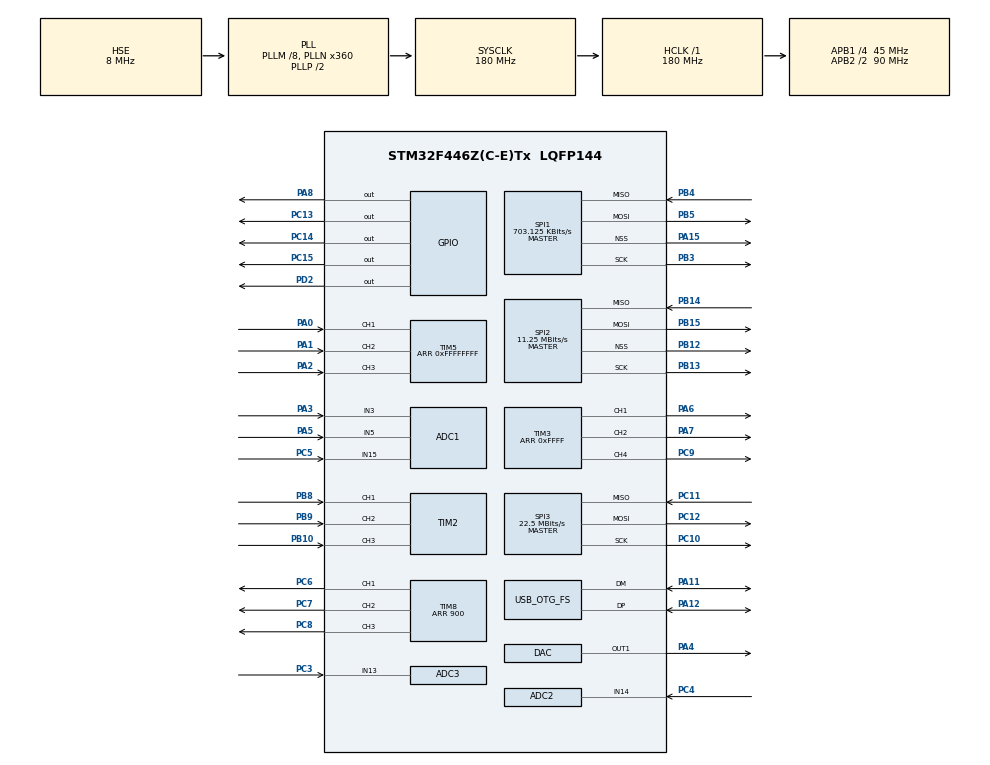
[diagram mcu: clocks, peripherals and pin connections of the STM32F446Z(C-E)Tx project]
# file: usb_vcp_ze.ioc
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ADC1.Channel-5\#ChannelRegularConversion=ADC_CHANNEL_5
ADC1.Channel-6\#ChannelInjectedConversion=ADC_CHANNEL_15
ADC1.ContinuousConvMode=ENABLE
ADC1.EOCSelection=ADC_EOC_SEQ_CONV
ADC1.ExternalTrigInjecConv=ADC_EXTERNALTRIGINJECCONV_T8_CC4
ADC1.InjNumberOfConversion=1
ADC1.InjectedConvMode=Discontinuous
ADC1.InjectedOffset-6\#ChannelInjectedConversion=0
ADC1.InjectedRank-6\#ChannelInjectedConversion=1
ADC1.NbrOfConversionFlag=1
ADC1.Rank-5\#ChannelRegularConversion=1
ADC1.SamplingTime-5\#ChannelRegularConversion=ADC_SAMPLETIME_3CYCLES
ADC1.SamplingTime-6\#ChannelInjectedConversion=ADC_SAMPLETIME_3CYCLES
ADC1.master=1
ADC2.Channel-0\#ChannelRegularConversion=ADC_CHANNEL_14
ADC2.Channel-1\#ChannelInjectedConversion=ADC_CHANNEL_14
ADC2.EOCSelection=ADC_EOC_SEQ_CONV
ADC2.ExternalTrigConv=ADC_SOFTWARE_START
ADC2.ExternalTrigInjecConv=ADC_EXTERNALTRIGINJECCONV_T8_CC4
ADC2.InjNumberOfConversion=1
ADC2.InjectedConvMode=Discontinuous
ADC2.InjectedOffset-1\#ChannelInjectedConversion=0
ADC2.NbrOfConversionFlag=1
ADC2.Rank-0\#ChannelRegularConversion=1
ADC2.SamplingTime-0\#ChannelRegularConversion=ADC_SAMPLETIME_3CYCLES
ADC2.SamplingTime-1\#ChannelInjectedConversion=ADC_SAMPLETIME_3CYCLES
ADC3.Channel-0\#ChannelRegularConversion=ADC_CHANNEL_13
ADC3.Channel-1\#ChannelInjectedConversion=ADC_CHANNEL_13
ADC3.EOCSelection=ADC_EOC_SEQ_CONV
ADC3.ExternalTrigConv=ADC_EXTERNALTRIGCONV_T1_CC1
ADC3.ExternalTrigInjecConv=ADC_EXTERNALTRIGINJECCONV_T8_CC4
ADC3.InjNumberOfConversion=1
ADC3.InjectedConvMode=Discontinuous
ADC3.InjectedOffset-1\#ChannelInjectedConversion=0
ADC3.NbrOfConversionFlag=1
ADC3.Rank-0\#ChannelRegularConversion=1
ADC3.SamplingTime-0\#ChannelRegularConversion=ADC_SAMPLETIME_3CYCLES
ADC3.SamplingTime-1\#ChannelInjectedConversion=ADC_SAMPLETIME_3CYCLES
DAC.DAC_OutputBuffer=DAC_OUTPUTBUFFER_DISABLE
Mcu.Family=STM32F4
Mcu.Name=STM32F446Z(C-E)Tx
Mcu.Package=LQFP144
NVIC.ADC_IRQn=true\:0\:0\:false\:false\:true\:true
NVIC.OTG_FS_IRQn=true\:0\:0\:false\:false\:true\:false
NVIC.PriorityGroup=NVIC_PRIORITYGROUP_4
NVIC.TIM1_UP_TIM10_IRQn=true\:0\:0\:false\:false\:true\:true
PA0-WKUP.Signal=S_TIM5_CH1
PA1.Signal=S_TIM5_CH2
PA11.Mode=Device_Only
PA11.Signal=USB_OTG_FS_DM
PA12.Mode=Device_Only
PA12.Signal=USB_OTG_FS_DP
PA15.Mode=NSS_Signal_Hard_Output
PA15.Signal=SPI1_NSS
PA2.Signal=S_TIM5_CH3
PA3.Signal=ADCx_IN3
PA4.Signal=COMP_DAC1_group
PA5.Signal=ADCx_IN5
PA6.Signal=S_TIM3_CH1
PA7.Signal=S_TIM3_CH2
PA8.Signal=GPIO_Output
PB0.Signal=TIM8_CH2N
PB1.Signal=TIM8_CH3N
PB10.Signal=S_TIM2_CH3
PB12.Mode=NSS_Signal_Hard_Output
PB12.Signal=SPI2_NSS
PB13.Mode=Full_Duplex_Master
PB13.Signal=SPI2_SCK
PB14.Mode=Full_Duplex_Master
PB14.Signal=SPI2_MISO
PB15.Mode=Full_Duplex_Master
PB15.Signal=SPI2_MOSI
PB3.Mode=Full_Duplex_Master
PB3.Signal=SPI1_SCK
PB4.Mode=Full_Duplex_Master
PB4.Signal=SPI1_MISO
PB5.Mode=Full_Duplex_Master
PB5.Signal=SPI1_MOSI
PB8.Signal=S_TIM2_CH1_ETR
PB9.Signal=S_TIM2_CH2
PC10.Mode=Full_Duplex_Master
PC10.Signal=SPI3_SCK
PC11.Mode=Full_Duplex_Master
PC11.Signal=SPI3_MISO
PC12.Mode=Full_Duplex_Master
PC12.Signal=SPI3_MOSI
PC13.Signal=GPIO_Output
PC14-OSC32_IN.Signal=GPIO_Output
PC15-OSC32_OUT.Signal=GPIO_Output
PC3.Signal=ADCx_IN13
PC4.Signal=ADCx_IN14
PC5.Signal=ADCx_IN15
PC6.Signal=S_TIM8_CH1
PC7.Signal=S_TIM8_CH2
PC8.Signal=S_TIM8_CH3
PC9.Signal=S_TIM3_CH4
PD2.PinState=GPIO_PIN_SET
PD2.Signal=GPIO_Output
PH0-OSC_IN.Mode=HSE-External-Oscillator
PH0-OSC_IN.Signal=RCC_OSC_IN
PH1-OSC_OUT.Mode=HSE-External-Oscillator
PH1-OSC_OUT.Signal=RCC_OSC_OUT
ProjectManager.HeapSize=0x4000
ProjectManager.StackSize=0x4000
ProjectManager.TargetToolchain=Makefile
RCC.AHBFreq_Value=180000000
RCC.APB1CLKDivider=RCC_HCLK_DIV4
RCC.APB1Freq_Value=45000000
RCC.APB1TimFreq_Value=90000000
RCC.APB2CLKDivider=RCC_HCLK_DIV2
RCC.APB2Freq_Value=90000000
RCC.APB2TimFreq_Value=180000000
RCC.CortexFreq_Value=180000000
RCC.HCLKFreq_Value=180000000
RCC.HSE_VALUE=8000000
RCC.PLLM=8
RCC.PLLN=360
RCC.PLLSAIM=8
RCC.PLLSAIP=RCC_PLLSAIP_DIV4
RCC.SYSCLKFreq_VALUE=180000000
RCC.SYSCLKSource=RCC_SYSCLKSOURCE_PLLCLK
RCC.USBCLockSelection=RCC_CLK48CLKSOURCE_PLLSAIP
RCC.USBFreq_Value=48000000
RCC.VCOOutputFreq_Value=360000000
SH.ADCx_IN13.0=ADC3_IN13,IN13
SH.ADCx_IN14.0=ADC2_IN14,IN14
SH.ADCx_IN15.0=ADC2_IN15
SH.ADCx_IN15.1=ADC1_IN15,IN15
SH.ADCx_IN3.0=ADC1_IN3,IN3
SH.ADCx_IN5.0=ADC1_IN5,IN5
SH.COMP_DAC1_group.0=DAC_OUT1,DAC_OUT1
SH.S_TIM2_CH1_ETR.0=TIM2_CH1,Encoder_Interface
SH.S_TIM2_CH2.0=TIM2_CH2,Encoder_Interface
SH.S_TIM2_CH3.0=TIM2_CH3,Input_Capture3_from_TI3
SH.S_TIM3_CH1.0=TIM3_CH1,PWM Generation1 CH1
SH.S_TIM3_CH2.0=TIM3_CH2,PWM Generation2 CH2
SH.S_TIM3_CH4.0=TIM3_CH4,PWM Generation4 CH4
SH.S_TIM5_CH1.0=TIM5_CH1,Encoder_Interface
SH.S_TIM5_CH2.0=TIM5_CH2,Encoder_Interface
SH.S_TIM5_CH3.0=TIM5_CH3,Input_Capture3_from_TI3
SH.S_TIM8_CH1.0=TIM8_CH1,PWM Generation1 CH1
SH.S_TIM8_CH2.0=TIM8_CH2,PWM Generation2 CH2
SH.S_TIM8_CH3.0=TIM8_CH3,PWM Generation3 CH3
SPI1.BaudRatePrescaler=SPI_BAUDRATEPRESCALER_128
SPI1.CalculateBaudRate=703.125 KBits/s
SPI1.DataSize=SPI_DATASIZE_16BIT
SPI1.Direction=SPI_DIRECTION_2LINES
SPI1.Mode=SPI_MODE_MASTER
SPI1.TIMode=SPI_TIMODE_ENABLE
SPI1.VirtualNSS=VM_NSSHARD
SPI1.VirtualType=VM_MASTER
SPI2.BaudRatePrescaler=SPI_BAUDRATEPRESCALER_4
SPI2.CLKPhase=SPI_PHASE_2EDGE
SPI2.CalculateBaudRate=11.25 MBits/s
SPI2.DataSize=SPI_DATASIZE_8BIT
SPI2.Direction=SPI_DIRECTION_2LINES
SPI2.Mode=SPI_MODE_MASTER
SPI2.TIMode=SPI_TIMODE_DISABLE
SPI2.VirtualNSS=VM_NSSHARD
SPI2.VirtualType=VM_MASTER
SPI3.BaudRatePrescaler=SPI_BAUDRATEPRESCALER_2
SPI3.CalculateBaudRate=22.5 MBits/s
SPI3.DataSize=SPI_DATASIZE_16BIT
SPI3.Direction=SPI_DIRECTION_2LINES
SPI3.Mode=SPI_MODE_MASTER
SPI3.VirtualType=VM_MASTER
TIM1.Channel-Output\ Compare1\ No\ Output=TIM_CHANNEL_1
TIM1.Period=17999
TIM1.TIM_MasterOutputTrigger=TIM_TRGO_UPDATE
TIM2.Channel-Input_Capture3_from_TI3=TIM_CHANNEL_3
TIM2.EncoderMode=TIM_ENCODERMODE_TI12
TIM2.IC1Filter=2
TIM2.IC2Filter=2
TIM2.ICFilter_CH3=4
TIM3.Channel-PWM\ Generation1\ CH1=TIM_CHANNEL_1
TIM3.Channel-PWM\ Generation2\ CH2=TIM_CHANNEL_2
TIM3.Channel-PWM\ Generation4\ CH4=TIM_CHANNEL_4
TIM3.Period=0xFFFF
TIM3.TIM_MasterOutputTrigger=TIM_TRGO_UPDATE
TIM5.Channel-Input_Capture3_from_TI3=TIM_CHANNEL_3
TIM5.EncoderMode=TIM_ENCODERMODE_TI12
TIM5.IC1Filter=2
TIM5.IC2Filter=2
TIM5.ICFilter_CH3=4
TIM5.Period=0xFFFFFFFF
TIM8.Channel-PWM\ Generation1\ CH1=TIM_CHANNEL_1
TIM8.Channel-PWM\ Generation2\ CH2=TIM_CHANNEL_2
TIM8.Channel-PWM\ Generation3\ CH3=TIM_CHANNEL_3
TIM8.Channel-PWM\ Generation4\ No\ Output=TIM_CHANNEL_4
TIM8.CounterMode=TIM_COUNTERMODE_CENTERALIGNED1
TIM8.OCFastMode_PWM-PWM\ Generation1\ CH1=TIM_OCFAST_DISABLE
TIM8.OCPolarity_1=TIM_OCPOLARITY_HIGH
TIM8.Period=900
TIM8.Pulse-PWM\ Generation1\ CH1=450
TIM8.Pulse-PWM\ Generation2\ CH2=450
TIM8.Pulse-PWM\ Generation3\ CH3=450
TIM8.Pulse-PWM\ Generation4\ No\ Output=898
USB_DEVICE.CLASS_NAME_FS=CDC
USB_DEVICE.USBD_LPM_ENABLED-CDC_FS=0
USB_DEVICE.VirtualMode-CDC_FS=Cdc
USB_DEVICE.VirtualModeFS=Cdc_FS
USB_OTG_FS.VirtualMode=Device_Only
VP_TIM1_VS_ClockSourceINT.Mode=Internal
VP_TIM1_VS_no_output1.Mode=Output Compare1 No Output
VP_TIM3_VS_ClockSourceINT.Mode=Internal
VP_TIM8_VS_ClockSourceINT.Mode=Internal
VP_TIM8_VS_no_output4.Mode=PWM Generation4 No Output
VP_USB_DEVICE_VS_USB_DEVICE_CDC_FS.Mode=CDC_FS
board=custom

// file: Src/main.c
/* USER CODE BEGIN Header */
/**
  ******************************************************************************
  * @file           : main.c
  * @brief          : Main program body
  ******************************************************************************
  * This notice applies to any and all portions of this file
  * that are not between comment pairs USER CODE BEGIN and
  * USER CODE END. Other portions of this file, whether
  * inserted by the user or by software development tools
  * are owned by their respective copyright owners.
  *
  * Copyright (c) 2019 STMicroelectronics International N.V.
  * All rights reserved.
  *
  * Redistribution and use in source and binary forms, with or without
  * modification, are permitted, provided that the following conditions are met:
  *
  * 1. Redistribution of source code must retain the above copyright notice,
  *    this list of conditions and the following disclaimer.
  * 2. Redistributions in binary form must reproduce the above copyright notice,
  *    this list of conditions and the following disclaimer in the documentation
  *    and/or other materials provided with the distribution.
  * 3. Neither the name of STMicroelectronics nor the names of other
  *    contributors to this software may be used to endorse or promote products
  *    derived from this software without specific written permission.
  * 4. This software, including modifications and/or derivative works of this
  *    software, must execute solely and exclusively on microcontroller or
  *    microprocessor devices manufactured by or for STMicroelectronics.
  * 5. Redistribution and use of this software other than as permitted under
  *    this license is void and will automatically terminate your rights under
  *    this license.
  *
  * THIS SOFTWARE IS PROVIDED BY STMICROELECTRONICS AND CONTRIBUTORS "AS IS"
  * AND ANY EXPRESS, IMPLIED OR STATUTORY WARRANTIES, INCLUDING, BUT NOT
  * LIMITED TO, THE IMPLIED WARRANTIES OF MERCHANTABILITY, FITNESS FOR A
  * PARTICULAR PURPOSE AND NON-INFRINGEMENT OF THIRD PARTY INTELLECTUAL PROPERTY
  * RIGHTS ARE DISCLAIMED TO THE FULLEST EXTENT PERMITTED BY LAW. IN NO EVENT
  * SHALL STMICROELECTRONICS OR CONTRIBUTORS BE LIABLE FOR ANY DIRECT, INDIRECT,
  * INCIDENTAL, SPECIAL, EXEMPLARY, OR CONSEQUENTIAL DAMAGES (INCLUDING, BUT NOT
  * LIMITED TO, PROCUREMENT OF SUBSTITUTE GOODS OR SERVICES; LOSS OF USE, DATA,
  * OR PROFITS; OR BUSINESS INTERRUPTION) HOWEVER CAUSED AND ON ANY THEORY OF
  * LIABILITY, WHETHER IN CONTRACT, STRICT LIABILITY, OR TORT (INCLUDING
  * NEGLIGENCE OR OTHERWISE) ARISING IN ANY WAY OUT OF THE USE OF THIS SOFTWARE,
  * EVEN IF ADVISED OF THE POSSIBILITY OF SUCH DAMAGE.
  *
  ******************************************************************************
  */
/* USER CODE END Header */

#include "main.h"
#include "usb_device.h"

/* USER CODE BEGIN Includes */
#include "../control/foc_i.h"
#include "usbd_cdc_if.h"
#include "param.h"
#include "util.h"
#include "pin_config.h"
__attribute__((used)) DWT_Type *dwt = DWT;

/* USER CODE END Includes */

ADC_HandleTypeDef hadc1;
ADC_HandleTypeDef hadc2;
ADC_HandleTypeDef hadc3;

DAC_HandleTypeDef hdac;

SPI_HandleTypeDef hspi1;
SPI_HandleTypeDef hspi2;

TIM_HandleTypeDef htim1;
TIM_HandleTypeDef htim2;
TIM_HandleTypeDef htim3;
TIM_HandleTypeDef htim5;
TIM_HandleTypeDef htim8;

/* USER CODE BEGIN PV */
/* Private variables ---------------------------------------------------------*/

/* USER CODE END PV */

void SystemClock_Config(void);
static void MX_GPIO_Init(void);
static void MX_ADC2_Init(void);
static void MX_ADC3_Init(void);
static void MX_TIM8_Init(void);
static void MX_TIM1_Init(void);
static void MX_TIM2_Init(void);
static void MX_TIM5_Init(void);
static void MX_DAC_Init(void);
static void MX_SPI2_Init(void);
static void MX_SPI1_Init(void);
static void MX_TIM3_Init(void);
static void MX_ADC1_Init(void);
/* USER CODE BEGIN PFP */
/* Private function prototypes -----------------------------------------------*/

uint16_t drv_regs_error = 0;
FastLoopStatus fast_loop_status;
MainLoopStatus main_loop_status;

uint16_t drv_regs[] = {
  (2<<11) | 0x20,  // control_reg 0x20, 3 PWM mode
  (3<<11) | 0x355, // hs_reg      0x3CC, moderate drive current
  (4<<11) | 0x055, // ls_reg      0x0CC, no cycle by cycle, 500 ns tdrive
                                // moderate drive current (.57,1.14A)
  (5<<11) | 0x20,  // ocp_reg     0x20 -> 50 ns dead time,
                              //latched ocp, 4 us ocp deglitch, 0.06 Vds thresh
  (6<<11) | 0x2C0, // csa_reg     0x280 -> bidirectional current, 40V/V
                                // anlog gain, 0.25V sense ocp resistor
};
/* USER CODE END PFP */

float i_a_filtered = 0;
float i_b_filtered = 0;
float i_c_filtered = 0;
float alpha = .01;
int main(void)
{

  /* MCU Configuration--------------------------------------------------------*/

  /* Reset of all peripherals, Initializes the Flash interface and the Systick. */
  HAL_Init();

  /* Configure the system clock */
  SystemClock_Config();

  /* Initialize all configured peripherals */
  MX_GPIO_Init();
  MX_USB_DEVICE_Init();
  MX_ADC2_Init();
  MX_ADC3_Init();
  MX_TIM8_Init();
  MX_TIM1_Init();
  MX_TIM2_Init();
  MX_TIM5_Init();
  MX_DAC_Init();
  MX_SPI2_Init();
  MX_SPI1_Init();
  MX_TIM3_Init();
  MX_ADC1_Init();
  /* USER CODE BEGIN 2 */

  // spi2 cs
  GPIOB->MODER |= GPIO_MODER_MODE12_0;
  GPIOB->MODER &= ~GPIO_MODER_MODE12_1;

  // tmp power source with power cycle
  GPIOF->MODER |= GPIO_MODER_MODE12_0;
  GPIOF->MODER &= ~GPIO_MODER_MODE12_1;
  GPIOF->ODR &= ~GPIO_ODR_OD12;
  HAL_Delay(100);
  GPIOF->ODR |= GPIO_ODR_OD12;

    init_param_from_flash();
  fast_loop_set_param(&param()->fast_loop_param);
  TIM8->ARR = 180e6/2/param()->fast_loop_param.pwm_frequency;
  main_loop_set_param(&param()->main_loop_param);
  TIM1->ARR = 180e6/param()->main_loop_param.update_frequency - 1;

	HAL_TIM_Base_Start(&htim8);
	HAL_TIM_Base_Start(&htim1);
	HAL_TIM_Base_Start(&htim2);
  HAL_TIM_Base_Start(&htim5);
    HAL_TIM_Base_Start(&htim3);
	HAL_ADC_Start(&hadc1);
		HAL_ADC_Start(&hadc2);
			HAL_ADC_Start(&hadc3);
			HAL_TIM_OC_Start(&htim8, TIM_CHANNEL_1);
			HAL_TIM_OC_Start(&htim8, TIM_CHANNEL_2);
			HAL_TIM_OC_Start(&htim8, TIM_CHANNEL_3);
			HAL_TIM_OC_Start(&htim8, TIM_CHANNEL_4);
			HAL_TIM_OC_Start(&htim2, TIM_CHANNEL_3);
      HAL_TIM_PWM_Start(&htim3, TIM_CHANNEL_1);
      HAL_TIM_PWM_Start(&htim3, TIM_CHANNEL_2);
      HAL_TIM_PWM_Start(&htim3, TIM_CHANNEL_4);
			htim8.Instance->CCR2 = 0x1c2;
      htim8.Instance->CCER |= TIM_CCER_CC1NE | TIM_CCER_CC2NE | TIM_CCER_CC3NE;
			hadc1.Instance->CR1 |= ADC_CR1_JEOCIE;
			htim1.Instance->DIER |= TIM_DIER_UIE;
			HAL_NVIC_SetPriority(OTG_FS_IRQn, 3, 0);
      HAL_NVIC_SetPriority(TIM1_UP_TIM10_IRQn, 2, 0);
			htim2.Instance->ARR = 0xFFFFFFFF;

			htim5.Instance->ARR = 0xFFFFFFFF;
      hdac.Instance->CR |= DAC_CR_EN1;
      DBGMCU->APB2FZ |= DBGMCU_APB2_FZ_DBG_TIM8_STOP;
      DBGMCU->APB1FZ |= DBGMCU_APB1_FZ_DBG_TIM5_STOP;

      CoreDebug->DEMCR |= CoreDebug_DEMCR_TRCENA_Msk;
      //ITM->LSR = 0xC5ACCE55;

      TPI->SPPR = 0x00000002; // Select NRZ mode
      TPI->ACPR = 40 - 1; // 4.5 MHz from 180 MHz clock
      ITM->TPR = 0x00000000;
      DWT->CTRL = 0x400003FF | (1ul<<17) | DWT_CTRL_LSUEVTENA_Msk | DWT_CTRL_FOLDEVTENA_Msk;
      TPI->FFCR = 0x00000100;
      //
      // Enable ITM and stimulus port
      //

     // ITM->TCR |= ITM_TCR_ITMENA_Msk; //& ITM_TCR_ITMENA_Msk) != 0UL) &&      /* ITM enabled */
      ITM->TCR = 0x1000D; // Enable ITM
      ITM->TER |= 1UL;

     // ITM->ENA = ITM_TCR_ITMENA_Msk // Enable ITM stimulus port

  /* USER CODE END 2 */

  /* Infinite loop */
  /* USER CODE BEGIN WHILE */
	char s[512];

    // drv enable
  *drv_en_reg = drv_en_pin;
  HAL_Delay(10);
  // drv regs setting
  for (int i=0; i<sizeof(drv_regs)/sizeof(uint16_t); i++) {
    uint16_t reg_out = drv_regs[i];
    uint16_t reg_in = 0;
    HAL_SPI_TransmitReceive(&hspi1, (uint8_t *) &reg_out, (uint8_t *) &reg_in, 1, 10);
    reg_out |= (1<<15); // switch to read mode
    HAL_SPI_TransmitReceive(&hspi1, (uint8_t *) &reg_out, (uint8_t *) &reg_in, 1, 10);
    if ((reg_in & 0x7FF) != (reg_out & 0x7FF)) {
      drv_regs_error |= 1 << i;
    }
  }

  // startup
  fast_loop_voltage_mode();
  for (int i=0; i<1000; i++) {
    HAL_Delay(1);
    fast_loop_zero_current_sensors();
  }
  fast_loop_phase_lock_mode(1);
  HAL_Delay(2000);
  fast_loop_maintenance();  // TODO better way than calling this to update zero pos
  fast_loop_current_mode();
  fast_loop_set_iq_des(0);

  while (1)
  {

		HAL_Delay(1);
    fast_loop_set_param(&param()->fast_loop_param);   // to help with debugging
    main_loop_set_param(&param()->main_loop_param);
    fast_loop_maintenance();
		HAL_GPIO_WritePin(GPIOC, GPIO_PIN_13, GPIO_PIN_SET);
    fast_loop_get_status(&fast_loop_status);
    main_loop_get_status(&main_loop_status);
		sprintf(s, "%f, %f, %f\r\n", fast_loop_status.motor_mechanical_position, fast_loop_status.foc_status.measured.i_q, main_loop_status.torque);
		CDC_Transmit_FS((uint8_t *) s, strlen(s));
			HAL_GPIO_WritePin(GPIOC, GPIO_PIN_13, GPIO_PIN_RESET);

    i_a_filtered = (1-alpha)*i_a_filtered + alpha*fast_loop_status.foc_command.measured.i_a;
    i_b_filtered = (1-alpha)*i_b_filtered + alpha*fast_loop_status.foc_command.measured.i_b;
    i_c_filtered = (1-alpha)*i_c_filtered + alpha*fast_loop_status.foc_command.measured.i_c;
    /* USER CODE END WHILE */

  }
}

void SystemClock_Config(void)
{
  RCC_OscInitTypeDef RCC_OscInitStruct = {0};
  RCC_ClkInitTypeDef RCC_ClkInitStruct = {0};
  RCC_PeriphCLKInitTypeDef PeriphClkInitStruct = {0};

  /**Configure the main internal regulator output voltage
  */
  __HAL_RCC_PWR_CLK_ENABLE();
  __HAL_PWR_VOLTAGESCALING_CONFIG(PWR_REGULATOR_VOLTAGE_SCALE1);
  /**Initializes the CPU, AHB and APB busses clocks
  */
  RCC_OscInitStruct.OscillatorType = RCC_OSCILLATORTYPE_HSE;
  RCC_OscInitStruct.HSEState = RCC_HSE_ON;
  RCC_OscInitStruct.PLL.PLLState = RCC_PLL_ON;
  RCC_OscInitStruct.PLL.PLLSource = RCC_PLLSOURCE_HSE;
  RCC_OscInitStruct.PLL.PLLM = 8;
  RCC_OscInitStruct.PLL.PLLN = 360;
  RCC_OscInitStruct.PLL.PLLP = RCC_PLLP_DIV2;
  RCC_OscInitStruct.PLL.PLLQ = 2;
  RCC_OscInitStruct.PLL.PLLR = 2;
  if (HAL_RCC_OscConfig(&RCC_OscInitStruct) != HAL_OK)
  {
    Error_Handler();
  }
  /**Activate the Over-Drive mode
  */
  if (HAL_PWREx_EnableOverDrive() != HAL_OK)
  {
    Error_Handler();
  }
  /**Initializes the CPU, AHB and APB busses clocks
  */
  RCC_ClkInitStruct.ClockType = RCC_CLOCKTYPE_HCLK|RCC_CLOCKTYPE_SYSCLK
                              |RCC_CLOCKTYPE_PCLK1|RCC_CLOCKTYPE_PCLK2;
  RCC_ClkInitStruct.SYSCLKSource = RCC_SYSCLKSOURCE_PLLCLK;
  RCC_ClkInitStruct.AHBCLKDivider = RCC_SYSCLK_DIV1;
  RCC_ClkInitStruct.APB1CLKDivider = RCC_HCLK_DIV4;
  RCC_ClkInitStruct.APB2CLKDivider = RCC_HCLK_DIV2;

  if (HAL_RCC_ClockConfig(&RCC_ClkInitStruct, FLASH_LATENCY_5) != HAL_OK)
  {
    Error_Handler();
  }
  PeriphClkInitStruct.PeriphClockSelection = RCC_PERIPHCLK_CLK48;
  PeriphClkInitStruct.PLLSAI.PLLSAIM = 8;
  PeriphClkInitStruct.PLLSAI.PLLSAIN = 192;
  PeriphClkInitStruct.PLLSAI.PLLSAIQ = 2;
  PeriphClkInitStruct.PLLSAI.PLLSAIP = RCC_PLLSAIP_DIV4;
  PeriphClkInitStruct.PLLSAIDivQ = 1;
  PeriphClkInitStruct.Clk48ClockSelection = RCC_CLK48CLKSOURCE_PLLSAIP;
  if (HAL_RCCEx_PeriphCLKConfig(&PeriphClkInitStruct) != HAL_OK)
  {
    Error_Handler();
  }
}

static void MX_ADC1_Init(void)
{

  ADC_ChannelConfTypeDef sConfig = {0};
  ADC_InjectionConfTypeDef sConfigInjected = {0};

  /**Configure the global features of the ADC (Clock, Resolution, Data Alignment and number of conversion)
  */
  hadc1.Instance = ADC1;
  hadc1.Init.ClockPrescaler = ADC_CLOCK_SYNC_PCLK_DIV4;
  hadc1.Init.Resolution = ADC_RESOLUTION_12B;
  hadc1.Init.ScanConvMode = DISABLE;
  hadc1.Init.ContinuousConvMode = ENABLE;
  hadc1.Init.DiscontinuousConvMode = DISABLE;
  hadc1.Init.ExternalTrigConvEdge = ADC_EXTERNALTRIGCONVEDGE_NONE;
  hadc1.Init.ExternalTrigConv = ADC_SOFTWARE_START;
  hadc1.Init.DataAlign = ADC_DATAALIGN_RIGHT;
  hadc1.Init.NbrOfConversion = 1;
  hadc1.Init.DMAContinuousRequests = DISABLE;
  hadc1.Init.EOCSelection = ADC_EOC_SEQ_CONV;
  if (HAL_ADC_Init(&hadc1) != HAL_OK)
  {
    Error_Handler();
  }
  /**Configure for the selected ADC regular channel its corresponding rank in the sequencer and its sample time.
  */
  sConfig.Channel = ADC_CHANNEL_5;
  sConfig.Rank = 1;
  sConfig.SamplingTime = ADC_SAMPLETIME_3CYCLES;
  if (HAL_ADC_ConfigChannel(&hadc1, &sConfig) != HAL_OK)
  {
    Error_Handler();
  }
  /**Configures for the selected ADC injected channel its corresponding rank in the sequencer and its sample time
  */
  sConfigInjected.InjectedChannel = ADC_CHANNEL_15;
  sConfigInjected.InjectedRank = 1;
  sConfigInjected.InjectedNbrOfConversion = 1;
  sConfigInjected.InjectedSamplingTime = ADC_SAMPLETIME_3CYCLES;
  sConfigInjected.ExternalTrigInjecConvEdge = ADC_EXTERNALTRIGINJECCONVEDGE_RISING;
  sConfigInjected.ExternalTrigInjecConv = ADC_EXTERNALTRIGINJECCONV_T8_CC4;
  sConfigInjected.AutoInjectedConv = DISABLE;
  sConfigInjected.InjectedDiscontinuousConvMode = ENABLE;
  sConfigInjected.InjectedOffset = 0;
  if (HAL_ADCEx_InjectedConfigChannel(&hadc1, &sConfigInjected) != HAL_OK)
  {
    Error_Handler();
  }

}

static void MX_ADC2_Init(void)
{

  ADC_ChannelConfTypeDef sConfig = {0};
  ADC_InjectionConfTypeDef sConfigInjected = {0};

  /**Configure the global features of the ADC (Clock, Resolution, Data Alignment and number of conversion)
  */
  hadc2.Instance = ADC2;
  hadc2.Init.ClockPrescaler = ADC_CLOCK_SYNC_PCLK_DIV4;
  hadc2.Init.Resolution = ADC_RESOLUTION_12B;
  hadc2.Init.ScanConvMode = DISABLE;
  hadc2.Init.ContinuousConvMode = DISABLE;
  hadc2.Init.DiscontinuousConvMode = DISABLE;
  hadc2.Init.ExternalTrigConvEdge = ADC_EXTERNALTRIGCONVEDGE_RISING;
  hadc2.Init.ExternalTrigConv = ADC_EXTERNALTRIGCONV_Ext_IT11;
  hadc2.Init.DataAlign = ADC_DATAALIGN_RIGHT;
  hadc2.Init.NbrOfConversion = 1;
  hadc2.Init.DMAContinuousRequests = DISABLE;
  hadc2.Init.EOCSelection = ADC_EOC_SEQ_CONV;
  if (HAL_ADC_Init(&hadc2) != HAL_OK)
  {
    Error_Handler();
  }
  /**Configure for the selected ADC regular channel its corresponding rank in the sequencer and its sample time.
  */
  sConfig.Channel = ADC_CHANNEL_14;
  sConfig.Rank = 1;
  sConfig.SamplingTime = ADC_SAMPLETIME_3CYCLES;
  if (HAL_ADC_ConfigChannel(&hadc2, &sConfig) != HAL_OK)
  {
    Error_Handler();
  }
  /**Configures for the selected ADC injected channel its corresponding rank in the sequencer and its sample time
  */
  sConfigInjected.InjectedChannel = ADC_CHANNEL_14;
  sConfigInjected.InjectedRank = 1;
  sConfigInjected.InjectedNbrOfConversion = 1;
  sConfigInjected.InjectedSamplingTime = ADC_SAMPLETIME_3CYCLES;
  sConfigInjected.ExternalTrigInjecConvEdge = ADC_EXTERNALTRIGINJECCONVEDGE_RISING;
  sConfigInjected.ExternalTrigInjecConv = ADC_EXTERNALTRIGINJECCONV_T8_CC4;
  sConfigInjected.AutoInjectedConv = DISABLE;
  sConfigInjected.InjectedDiscontinuousConvMode = ENABLE;
  sConfigInjected.InjectedOffset = 0;
  if (HAL_ADCEx_InjectedConfigChannel(&hadc2, &sConfigInjected) != HAL_OK)
  {
    Error_Handler();
  }

}

static void MX_ADC3_Init(void)
{

  ADC_ChannelConfTypeDef sConfig = {0};
  ADC_InjectionConfTypeDef sConfigInjected = {0};

  /**Configure the global features of the ADC (Clock, Resolution, Data Alignment and number of conversion)
  */
  hadc3.Instance = ADC3;
  hadc3.Init.ClockPrescaler = ADC_CLOCK_SYNC_PCLK_DIV4;
  hadc3.Init.Resolution = ADC_RESOLUTION_12B;
  hadc3.Init.ScanConvMode = DISABLE;
  hadc3.Init.ContinuousConvMode = DISABLE;
  hadc3.Init.DiscontinuousConvMode = DISABLE;
  hadc3.Init.ExternalTrigConvEdge = ADC_EXTERNALTRIGCONVEDGE_RISING;
  hadc3.Init.ExternalTrigConv = ADC_EXTERNALTRIGCONV_T1_CC1;
  hadc3.Init.DataAlign = ADC_DATAALIGN_RIGHT;
  hadc3.Init.NbrOfConversion = 1;
  hadc3.Init.DMAContinuousRequests = DISABLE;
  hadc3.Init.EOCSelection = ADC_EOC_SEQ_CONV;
  if (HAL_ADC_Init(&hadc3) != HAL_OK)
  {
    Error_Handler();
  }
  /**Configure for the selected ADC regular channel its corresponding rank in the sequencer and its sample time.
  */
  sConfig.Channel = ADC_CHANNEL_13;
  sConfig.Rank = 1;
  sConfig.SamplingTime = ADC_SAMPLETIME_3CYCLES;
  if (HAL_ADC_ConfigChannel(&hadc3, &sConfig) != HAL_OK)
  {
    Error_Handler();
  }
  /**Configures for the selected ADC injected channel its corresponding rank in the sequencer and its sample time
  */
  sConfigInjected.InjectedChannel = ADC_CHANNEL_13;
  sConfigInjected.InjectedRank = 1;
  sConfigInjected.InjectedNbrOfConversion = 1;
  sConfigInjected.InjectedSamplingTime = ADC_SAMPLETIME_3CYCLES;
  sConfigInjected.ExternalTrigInjecConvEdge = ADC_EXTERNALTRIGINJECCONVEDGE_RISING;
  sConfigInjected.ExternalTrigInjecConv = ADC_EXTERNALTRIGINJECCONV_T8_CC4;
  sConfigInjected.AutoInjectedConv = DISABLE;
  sConfigInjected.InjectedDiscontinuousConvMode = ENABLE;
  sConfigInjected.InjectedOffset = 0;
  if (HAL_ADCEx_InjectedConfigChannel(&hadc3, &sConfigInjected) != HAL_OK)
  {
    Error_Handler();
  }

}

static void MX_DAC_Init(void)
{

  DAC_ChannelConfTypeDef sConfig = {0};

  /**DAC Initialization
  */
  hdac.Instance = DAC;
  if (HAL_DAC_Init(&hdac) != HAL_OK)
  {
    Error_Handler();
  }
  /**DAC channel OUT1 config
  */
  sConfig.DAC_Trigger = DAC_TRIGGER_NONE;
  sConfig.DAC_OutputBuffer = DAC_OUTPUTBUFFER_DISABLE;
  if (HAL_DAC_ConfigChannel(&hdac, &sConfig, DAC_CHANNEL_1) != HAL_OK)
  {
    Error_Handler();
  }

}

static void MX_SPI1_Init(void)
{

  /* SPI1 parameter configuration*/
  hspi1.Instance = SPI1;
  hspi1.Init.Mode = SPI_MODE_MASTER;
  hspi1.Init.Direction = SPI_DIRECTION_2LINES;
  hspi1.Init.DataSize = SPI_DATASIZE_16BIT;
  hspi1.Init.NSS = SPI_NSS_HARD_OUTPUT;
  hspi1.Init.BaudRatePrescaler = SPI_BAUDRATEPRESCALER_128;
  hspi1.Init.TIMode = SPI_TIMODE_ENABLE;
  hspi1.Init.CRCCalculation = SPI_CRCCALCULATION_DISABLE;
  hspi1.Init.CRCPolynomial = 10;
  if (HAL_SPI_Init(&hspi1) != HAL_OK)
  {
    Error_Handler();
  }

}

static void MX_SPI2_Init(void)
{

  /* SPI2 parameter configuration*/
  hspi2.Instance = SPI2;
  hspi2.Init.Mode = SPI_MODE_MASTER;
  hspi2.Init.Direction = SPI_DIRECTION_2LINES;
  hspi2.Init.DataSize = SPI_DATASIZE_8BIT;
  hspi2.Init.CLKPolarity = SPI_POLARITY_LOW;
  hspi2.Init.CLKPhase = SPI_PHASE_2EDGE;
  hspi2.Init.NSS = SPI_NSS_HARD_OUTPUT;
  hspi2.Init.BaudRatePrescaler = SPI_BAUDRATEPRESCALER_4;
  hspi2.Init.FirstBit = SPI_FIRSTBIT_MSB;
  hspi2.Init.TIMode = SPI_TIMODE_DISABLE;
  hspi2.Init.CRCCalculation = SPI_CRCCALCULATION_DISABLE;
  hspi2.Init.CRCPolynomial = 10;
  if (HAL_SPI_Init(&hspi2) != HAL_OK)
  {
    Error_Handler();
  }

}

static void MX_TIM1_Init(void)
{

  TIM_ClockConfigTypeDef sClockSourceConfig = {0};
  TIM_MasterConfigTypeDef sMasterConfig = {0};
  TIM_OC_InitTypeDef sConfigOC = {0};
  TIM_BreakDeadTimeConfigTypeDef sBreakDeadTimeConfig = {0};

  htim1.Instance = TIM1;
  htim1.Init.Prescaler = 0;
  htim1.Init.CounterMode = TIM_COUNTERMODE_UP;
  htim1.Init.Period = 17999;
  htim1.Init.ClockDivision = TIM_CLOCKDIVISION_DIV1;
  htim1.Init.RepetitionCounter = 0;
  if (HAL_TIM_Base_Init(&htim1) != HAL_OK)
  {
    Error_Handler();
  }
  sClockSourceConfig.ClockSource = TIM_CLOCKSOURCE_INTERNAL;
  if (HAL_TIM_ConfigClockSource(&htim1, &sClockSourceConfig) != HAL_OK)
  {
    Error_Handler();
  }
  if (HAL_TIM_OC_Init(&htim1) != HAL_OK)
  {
    Error_Handler();
  }
  sMasterConfig.MasterOutputTrigger = TIM_TRGO_UPDATE;
  sMasterConfig.MasterSlaveMode = TIM_MASTERSLAVEMODE_DISABLE;
  if (HAL_TIMEx_MasterConfigSynchronization(&htim1, &sMasterConfig) != HAL_OK)
  {
    Error_Handler();
  }
  sConfigOC.OCMode = TIM_OCMODE_TIMING;
  sConfigOC.Pulse = 0;
  sConfigOC.OCPolarity = TIM_OCPOLARITY_HIGH;
  sConfigOC.OCNPolarity = TIM_OCNPOLARITY_HIGH;
  sConfigOC.OCFastMode = TIM_OCFAST_DISABLE;
  sConfigOC.OCIdleState = TIM_OCIDLESTATE_RESET;
  sConfigOC.OCNIdleState = TIM_OCNIDLESTATE_RESET;
  if (HAL_TIM_OC_ConfigChannel(&htim1, &sConfigOC, TIM_CHANNEL_1) != HAL_OK)
  {
    Error_Handler();
  }
  sBreakDeadTimeConfig.OffStateRunMode = TIM_OSSR_DISABLE;
  sBreakDeadTimeConfig.OffStateIDLEMode = TIM_OSSI_DISABLE;
  sBreakDeadTimeConfig.LockLevel = TIM_LOCKLEVEL_OFF;
  sBreakDeadTimeConfig.DeadTime = 0;
  sBreakDeadTimeConfig.BreakState = TIM_BREAK_DISABLE;
  sBreakDeadTimeConfig.BreakPolarity = TIM_BREAKPOLARITY_HIGH;
  sBreakDeadTimeConfig.AutomaticOutput = TIM_AUTOMATICOUTPUT_DISABLE;
  if (HAL_TIMEx_ConfigBreakDeadTime(&htim1, &sBreakDeadTimeConfig) != HAL_OK)
  {
    Error_Handler();
  }

}

static void MX_TIM2_Init(void)
{

  TIM_Encoder_InitTypeDef sConfig = {0};
  TIM_MasterConfigTypeDef sMasterConfig = {0};
  TIM_IC_InitTypeDef sConfigIC = {0};

  htim2.Instance = TIM2;
  htim2.Init.Prescaler = 0;
  htim2.Init.CounterMode = TIM_COUNTERMODE_UP;
  htim2.Init.Period = 0;
  htim2.Init.ClockDivision = TIM_CLOCKDIVISION_DIV1;
  if (HAL_TIM_IC_Init(&htim2) != HAL_OK)
  {
    Error_Handler();
  }
  sConfig.EncoderMode = TIM_ENCODERMODE_TI12;
  sConfig.IC1Polarity = TIM_ICPOLARITY_RISING;
  sConfig.IC1Selection = TIM_ICSELECTION_DIRECTTI;
  sConfig.IC1Prescaler = TIM_ICPSC_DIV1;
  sConfig.IC1Filter = 2;
  sConfig.IC2Polarity = TIM_ICPOLARITY_RISING;
  sConfig.IC2Selection = TIM_ICSELECTION_DIRECTTI;
  sConfig.IC2Prescaler = TIM_ICPSC_DIV1;
  sConfig.IC2Filter = 4;
  if (HAL_TIM_Encoder_Init(&htim2, &sConfig) != HAL_OK)
  {
    Error_Handler();
  }
  sMasterConfig.MasterOutputTrigger = TIM_TRGO_RESET;
  sMasterConfig.MasterSlaveMode = TIM_MASTERSLAVEMODE_DISABLE;
  if (HAL_TIMEx_MasterConfigSynchronization(&htim2, &sMasterConfig) != HAL_OK)
  {
    Error_Handler();
  }
  sConfigIC.ICPolarity = TIM_INPUTCHANNELPOLARITY_RISING;
  sConfigIC.ICSelection = TIM_ICSELECTION_DIRECTTI;
  sConfigIC.ICPrescaler = TIM_ICPSC_DIV1;
  sConfigIC.ICFilter = 2;
  if (HAL_TIM_IC_ConfigChannel(&htim2, &sConfigIC, TIM_CHANNEL_3) != HAL_OK)
  {
    Error_Handler();
  }

}

static void MX_TIM3_Init(void)
{

  TIM_ClockConfigTypeDef sClockSourceConfig = {0};
  TIM_MasterConfigTypeDef sMasterConfig = {0};
  TIM_OC_InitTypeDef sConfigOC = {0};

  htim3.Instance = TIM3;
  htim3.Init.Prescaler = 0;
  htim3.Init.CounterMode = TIM_COUNTERMODE_UP;
  htim3.Init.Period = 0xFFFF;
  htim3.Init.ClockDivision = TIM_CLOCKDIVISION_DIV1;
  if (HAL_TIM_Base_Init(&htim3) != HAL_OK)
  {
    Error_Handler();
  }
  sClockSourceConfig.ClockSource = TIM_CLOCKSOURCE_INTERNAL;
  if (HAL_TIM_ConfigClockSource(&htim3, &sClockSourceConfig) != HAL_OK)
  {
    Error_Handler();
  }
  if (HAL_TIM_PWM_Init(&htim3) != HAL_OK)
  {
    Error_Handler();
  }
  sMasterConfig.MasterOutputTrigger = TIM_TRGO_UPDATE;
  sMasterConfig.MasterSlaveMode = TIM_MASTERSLAVEMODE_DISABLE;
  if (HAL_TIMEx_MasterConfigSynchronization(&htim3, &sMasterConfig) != HAL_OK)
  {
    Error_Handler();
  }
  sConfigOC.OCMode = TIM_OCMODE_PWM1;
  sConfigOC.Pulse = 0;
  sConfigOC.OCPolarity = TIM_OCPOLARITY_HIGH;
  sConfigOC.OCFastMode = TIM_OCFAST_DISABLE;
  if (HAL_TIM_PWM_ConfigChannel(&htim3, &sConfigOC, TIM_CHANNEL_1) != HAL_OK)
  {
    Error_Handler();
  }
  if (HAL_TIM_PWM_ConfigChannel(&htim3, &sConfigOC, TIM_CHANNEL_2) != HAL_OK)
  {
    Error_Handler();
  }
  if (HAL_TIM_PWM_ConfigChannel(&htim3, &sConfigOC, TIM_CHANNEL_4) != HAL_OK)
  {
    Error_Handler();
  }
  HAL_TIM_MspPostInit(&htim3);

}

static void MX_TIM5_Init(void)
{

  TIM_ClockConfigTypeDef sClockSourceConfig = {0};
  TIM_MasterConfigTypeDef sMasterConfig = {0};

  htim5.Instance = TIM5;
  htim5.Init.Prescaler = 0;
  htim5.Init.CounterMode = TIM_COUNTERMODE_UP;
  htim5.Init.Period = 0xFFFFFFFF;
  htim5.Init.ClockDivision = TIM_CLOCKDIVISION_DIV1;
  if (HAL_TIM_Base_Init(&htim5) != HAL_OK)
  {
    Error_Handler();
  }
  sClockSourceConfig.ClockSource = TIM_CLOCKSOURCE_INTERNAL;
  if (HAL_TIM_ConfigClockSource(&htim5, &sClockSourceConfig) != HAL_OK)
  {
    Error_Handler();
  }
  sMasterConfig.MasterOutputTrigger = TIM_TRGO_RESET;
  sMasterConfig.MasterSlaveMode = TIM_MASTERSLAVEMODE_DISABLE;
  if (HAL_TIMEx_MasterConfigSynchronization(&htim5, &sMasterConfig) != HAL_OK)
  {
    Error_Handler();
  }

}

static void MX_TIM8_Init(void)
{

  TIM_ClockConfigTypeDef sClockSourceConfig = {0};
  TIM_MasterConfigTypeDef sMasterConfig = {0};
  TIM_OC_InitTypeDef sConfigOC = {0};
  TIM_BreakDeadTimeConfigTypeDef sBreakDeadTimeConfig = {0};

  htim8.Instance = TIM8;
  htim8.Init.Prescaler = 0;
  htim8.Init.CounterMode = TIM_COUNTERMODE_CENTERALIGNED1;
  htim8.Init.Period = 900;
  htim8.Init.ClockDivision = TIM_CLOCKDIVISION_DIV1;
  htim8.Init.RepetitionCounter = 0;
  if (HAL_TIM_Base_Init(&htim8) != HAL_OK)
  {
    Error_Handler();
  }
  sClockSourceConfig.ClockSource = TIM_CLOCKSOURCE_INTERNAL;
  if (HAL_TIM_ConfigClockSource(&htim8, &sClockSourceConfig) != HAL_OK)
  {
    Error_Handler();
  }
  if (HAL_TIM_PWM_Init(&htim8) != HAL_OK)
  {
    Error_Handler();
  }
  sMasterConfig.MasterOutputTrigger = TIM_TRGO_RESET;
  sMasterConfig.MasterSlaveMode = TIM_MASTERSLAVEMODE_DISABLE;
  if (HAL_TIMEx_MasterConfigSynchronization(&htim8, &sMasterConfig) != HAL_OK)
  {
    Error_Handler();
  }
  sConfigOC.OCMode = TIM_OCMODE_PWM1;
  sConfigOC.Pulse = 450;
  sConfigOC.OCPolarity = TIM_OCPOLARITY_HIGH;
  sConfigOC.OCNPolarity = TIM_OCNPOLARITY_HIGH;
  sConfigOC.OCFastMode = TIM_OCFAST_DISABLE;
  sConfigOC.OCIdleState = TIM_OCIDLESTATE_RESET;
  sConfigOC.OCNIdleState = TIM_OCNIDLESTATE_RESET;
  if (HAL_TIM_PWM_ConfigChannel(&htim8, &sConfigOC, TIM_CHANNEL_1) != HAL_OK)
  {
    Error_Handler();
  }
  if (HAL_TIM_PWM_ConfigChannel(&htim8, &sConfigOC, TIM_CHANNEL_2) != HAL_OK)
  {
    Error_Handler();
  }
  if (HAL_TIM_PWM_ConfigChannel(&htim8, &sConfigOC, TIM_CHANNEL_3) != HAL_OK)
  {
    Error_Handler();
  }
  sConfigOC.Pulse = 898;
  if (HAL_TIM_PWM_ConfigChannel(&htim8, &sConfigOC, TIM_CHANNEL_4) != HAL_OK)
  {
    Error_Handler();
  }
  sBreakDeadTimeConfig.OffStateRunMode = TIM_OSSR_DISABLE;
  sBreakDeadTimeConfig.OffStateIDLEMode = TIM_OSSI_DISABLE;
  sBreakDeadTimeConfig.LockLevel = TIM_LOCKLEVEL_OFF;
  sBreakDeadTimeConfig.DeadTime = 0;
  sBreakDeadTimeConfig.BreakState = TIM_BREAK_DISABLE;
  sBreakDeadTimeConfig.BreakPolarity = TIM_BREAKPOLARITY_HIGH;
  sBreakDeadTimeConfig.AutomaticOutput = TIM_AUTOMATICOUTPUT_DISABLE;
  if (HAL_TIMEx_ConfigBreakDeadTime(&htim8, &sBreakDeadTimeConfig) != HAL_OK)
  {
    Error_Handler();
  }
  HAL_TIM_MspPostInit(&htim8);

}

static void MX_GPIO_Init(void)
{
  GPIO_InitTypeDef GPIO_InitStruct = {0};

  /* GPIO Ports Clock Enable */
  __HAL_RCC_GPIOC_CLK_ENABLE();
  __HAL_RCC_GPIOH_CLK_ENABLE();
  __HAL_RCC_GPIOA_CLK_ENABLE();
  __HAL_RCC_GPIOB_CLK_ENABLE();
  __HAL_RCC_GPIOD_CLK_ENABLE();

  /*Configure GPIO pin Output Level */
  HAL_GPIO_WritePin(GPIOC, GPIO_PIN_13|GPIO_PIN_14|GPIO_PIN_15, GPIO_PIN_RESET);

  /*Configure GPIO pin Output Level */
  HAL_GPIO_WritePin(GPIOD, GPIO_PIN_2, GPIO_PIN_SET);

  /*Configure GPIO pins : PC13 PC14 PC15 */
  GPIO_InitStruct.Pin = GPIO_PIN_13|GPIO_PIN_14|GPIO_PIN_15;
  GPIO_InitStruct.Mode = GPIO_MODE_OUTPUT_PP;
  GPIO_InitStruct.Pull = GPIO_NOPULL;
  GPIO_InitStruct.Speed = GPIO_SPEED_FREQ_LOW;
  HAL_GPIO_Init(GPIOC, &GPIO_InitStruct);

  /*Configure GPIO pin : PC11 */
  GPIO_InitStruct.Pin = GPIO_PIN_11;
  GPIO_InitStruct.Mode = GPIO_MODE_IT_RISING;
  GPIO_InitStruct.Pull = GPIO_NOPULL;
  HAL_GPIO_Init(GPIOC, &GPIO_InitStruct);

  /*Configure GPIO pin : PD2 */
  GPIO_InitStruct.Pin = GPIO_PIN_2;
  GPIO_InitStruct.Mode = GPIO_MODE_OUTPUT_PP;
  GPIO_InitStruct.Pull = GPIO_NOPULL;
  GPIO_InitStruct.Speed = GPIO_SPEED_FREQ_LOW;
  HAL_GPIO_Init(GPIOD, &GPIO_InitStruct);

}

void Error_Handler(void)
{
  while(1)
  {
  }
}

/************************ (C) COPYRIGHT STMicroelectronics *****END OF FILE****/
